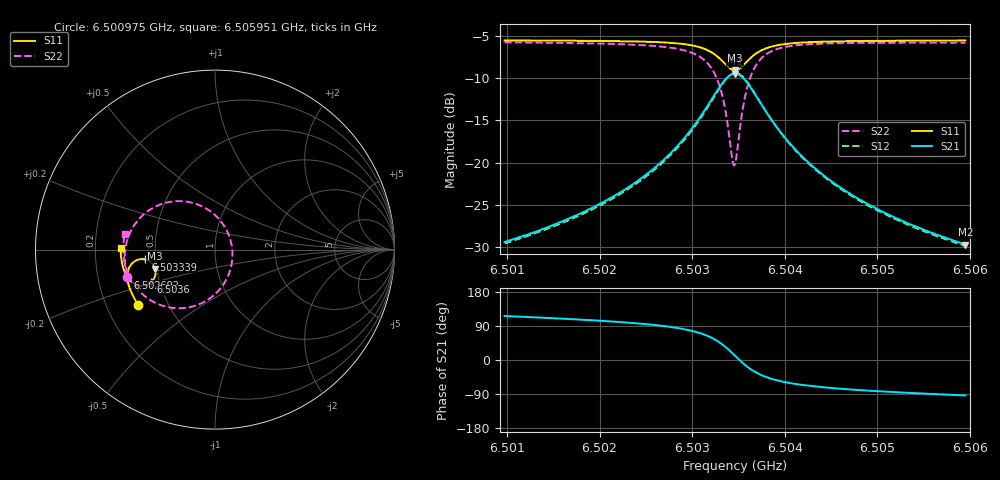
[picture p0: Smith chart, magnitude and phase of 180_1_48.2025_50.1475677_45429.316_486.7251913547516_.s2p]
#  HZ  S  RI  R  50.00
! Rohde & Schwarz Vector Network Analyzer
! Rohde-Schwarz,ZNB20-2Port,1311601062101988,3.16
! Created: UTC 3/20/2024, 11:44:05 AM
! freq[Hz]  re:S11  im:S11  re:S21  im:S21  re:S12  im:S12  re:S22  im:S22
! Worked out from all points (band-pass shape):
!   401 points, 6.500975 GHz to 6.505951 GHz, reference 50 ohm
!   highest |S21| = -9.50 dB at 6.503463 GHz (marker M1); lowest = -29.7 dB at 6.505951 GHz (marker M2)
!   |S21| within 3 dB of the highest: 6.503214 GHz to 6.503712 GHz (497.8 kHz wide, 0.00765 % of centre)
!   lowest |S11| = -9.1 dB at 6.503463 GHz (marker M3), VSWR 2.08, Z = 24.5 - j5.88 ohm
!   |S11| at or under -10 dB: nowhere
!   |S22| runs from -20.4 to -5.8 dB; largest |S21 - S12| = 0.012
!   S11 on the Smith chart (normalised r, x): 6.500975 GHz: 0.34, -0.29; 6.502692 GHz: 0.33, -0.14; 6.503339 GHz: 0.44, -0.06; 6.5036 GHz: 0.45, -0.19; 6.505951 GHz: 0.31, +0.01
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6.5009749e9  -0.4274 -0.3076  -0.0149 0.0305  -0.0132 0.0306  -0.4906 -0.1517
6.5018084e9  -0.4631 -0.2457  -0.0141 0.0484  -0.0117 0.0479  -0.5035 -0.0624
6.5022811e9  -0.4795 -0.2034  -0.0111 0.0687  -0.00795 0.0676  -0.4995 0.00554
6.5026419e9  -0.4877 -0.163  -0.00192 0.0977  0.00181 0.0954  -0.4798 0.0791
6.5026916e9  -0.4882 -0.1565  0.000564 0.1035  0.00425 0.101  -0.4744 0.0917
6.5029529e9  -0.4837 -0.1151  0.0271 0.1449  0.0309 0.1406  -0.4191 0.1748
6.5031395e9  -0.4618 -0.077  0.0825 0.1875  0.0847 0.1814  -0.3135 0.248
6.5032514e9  -0.4286 -0.0562  0.153 0.205  0.1535 0.1988  -0.1865 0.2697
6.5033385e9  -0.3875 -0.0549  0.2335 0.1882  0.2338 0.1831  -0.0469 0.2275
6.5034256e9  -0.3451 -0.0836  0.3111 0.1142  0.3135 0.1096  0.0766 0.0818
6.5034505e9  -0.3371 -0.0978  0.3243 0.0827  0.3276 0.0774  0.0933 0.0222
6.5034629e9  -0.3344 -0.1054  0.3285 0.0659  0.332 0.06  0.0968 -0.00886
6.5034878e9  -0.3314 -0.1214  0.3318 0.0315  0.3356 0.0245  0.0944 -0.0716
6.5035251e9  -0.3337 -0.1451  0.3247 -0.0182  0.3277 -0.0272  0.067 -0.1595
6.5035998e9  -0.3557 -0.1817  0.2784 -0.0935  0.2781 -0.1051  -0.042 -0.2806
6.5036993e9  -0.3961 -0.2007  0.2012 -0.1365  0.1961 -0.1464  -0.1994 -0.3267
6.503861e9  -0.4448 -0.1929  0.1141 -0.1361  0.1071 -0.1413  -0.3575 -0.283
6.5040352e9  -0.4737 -0.1718  0.0669 -0.1155  0.0604 -0.1178  -0.4346 -0.2164
6.5042964e9  -0.4961 -0.1403  0.0342 -0.0892  0.0294 -0.0896  -0.4819 -0.139
6.5046696e9  -0.5115 -0.1012  0.0151 -0.0656  0.0117 -0.0652  -0.5043 -0.0637
6.5051299e9  -0.521 -0.0583  0.00517 -0.0487  0.0028 -0.048  -0.5105 0.00213
6.505951e9  -0.526 0.0114  -0.00203 -0.0326  -0.00337 -0.0318  -0.5028 0.0895
